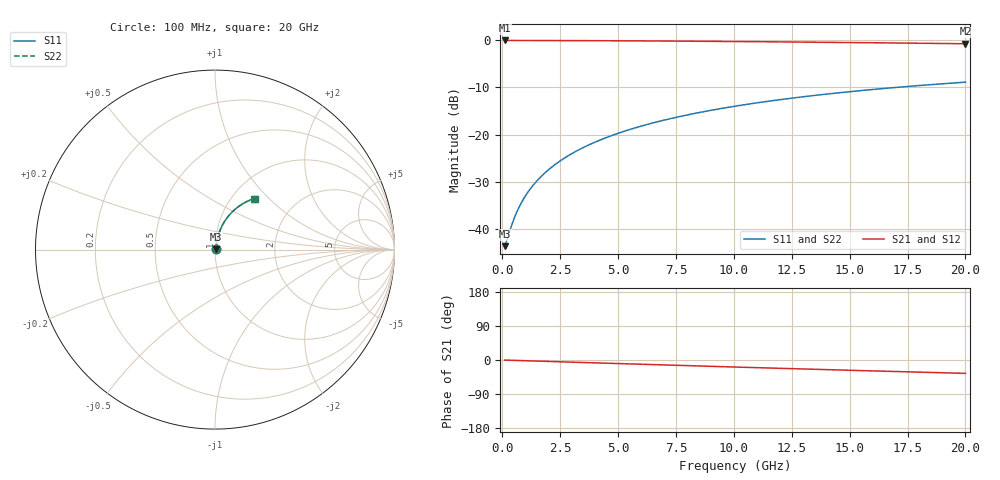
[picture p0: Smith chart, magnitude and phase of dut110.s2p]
! Touchstone file exported from HFSS 2026.1.0
!  File:  C:/ffzhzh/LocalFiles/Ansys_Project_Files/temp_train_BSMRDL_110_1782985849_6248.aedt
!  Generated:  05:52:07 PM Jul  2, 2026
!  Design:  BSMRDL
!  Project:  temp_train_BSMRDL_110_1782985849_6248
! Variables:
!  h_bsmrdl = 2.84um
!  h_ox = 20um
!  h_rdl = 5um
!  h_sub = 80um
!  h_tmrdl = 5um
!  h_tsv = 80um
!  h_via = 3um
!  l_bsmrdl = 503um
!  l_sub = 903um
!  l_tmrdl = 200um
!  m_sub = 200um
!  pitch = 27.78um
!  r_tsv = 6um
!  s_tmrdl = 10um
!  w_bsmrdl = 10.11um
!  w_sub = 500um
!  w_tmrdl = 12um
!  x_tsv_center1 = 206um
!  x_tsv_center2 = 719.11um
!  x_tsv_center3 = 931.11um
!  x_tsv_center4 = 1444.22um
!  x_tsv_center5 = 1656.22um
!  x_tsv_center6 = 2169.33um
# GHz S MA R 50.000000
! Terminal data exported
! Port[1] = BSM_RDL1_1_T1
! Port[2] = BSM_RDL1_1_T2
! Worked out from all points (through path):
!   200 points, 100 MHz to 20 GHz, reference 50 ohm
!   highest |S21| = -0.05 dB at 100 MHz (marker M1); lowest = -0.7 dB at 20 GHz (marker M2)
!   group delay of S21, straight-line fit = 4.91 ps
!   lowest |S11| = -43.6 dB at 100 MHz (marker M3), VSWR 1.01, Z = 50.6 + j0.224 ohm
!   |S11| at or under -10 dB: start of sweep to 16.98 GHz
!   |S22| runs from -43.6 to -8.9 dB; largest |S21 - S12| = 3.2e-15
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0.1  0.006623 19.5  0.9938 -0.2  0.9938 -0.2  0.006623 19.5
! Gamma 0 0 0 0
! Port Impedance 50 0 50 0
0.2  0.007701 34.9  0.9937 -0.4  0.9937 -0.4  0.007701 34.9
0.4  0.01093 53.1  0.9935 -0.8  0.9935 -0.8  0.01093 53.1
0.5  0.01278 58.2  0.9934 -1.0  0.9934 -1.0  0.01278 58.2
0.7  0.01664 64.8  0.9931 -1.4  0.9931 -1.4  0.01664 64.8
0.8  0.01861 66.9  0.993 -1.5  0.993 -1.5  0.01861 66.9
1  0.02258 70.0  0.9928 -1.9  0.9928 -1.9  0.02258 70.0
1.3  0.02858 73.0  0.9924 -2.5  0.9924 -2.5  0.02858 73.0
1.7  0.03665 75.2  0.992 -3.2  0.992 -3.2  0.03665 75.2
2.2  0.0468 76.5  0.9914 -4.2  0.9914 -4.2  0.0468 76.5
2.8  0.059 77.1  0.9905 -5.3  0.9905 -5.3  0.05901 77.1
3.5  0.07324 77.1  0.9894 -6.6  0.9894 -6.6  0.07324 77.1
4.2  0.08741 76.7  0.9879 -7.9  0.9879 -7.9  0.08741 76.6
5  0.1035 75.8  0.9861 -9.4  0.9861 -9.4  0.1035 75.8
5.9  0.1214 74.7  0.9836 -11.1  0.9836 -11.1  0.1214 74.7
6.8  0.139 73.4  0.9809 -12.7  0.9809 -12.7  0.139 73.4
8.3  0.1679 71.1  0.9756 -15.5  0.9756 -15.5  0.1679 71.0
10.1  0.2013 68.1  0.9683 -18.7  0.9683 -18.7  0.2013 68.1
11.7  0.2299 65.5  0.9612 -21.5  0.9612 -21.5  0.2299 65.5
13.4  0.2591 62.7  0.953 -24.4  0.953 -24.4  0.2591 62.7
16.7  0.3119 57.4  0.9358 -30.0  0.9358 -30.0  0.312 57.4
20  0.3598 52.3  0.9176 -35.3  0.9176 -35.3  0.3598 52.3
